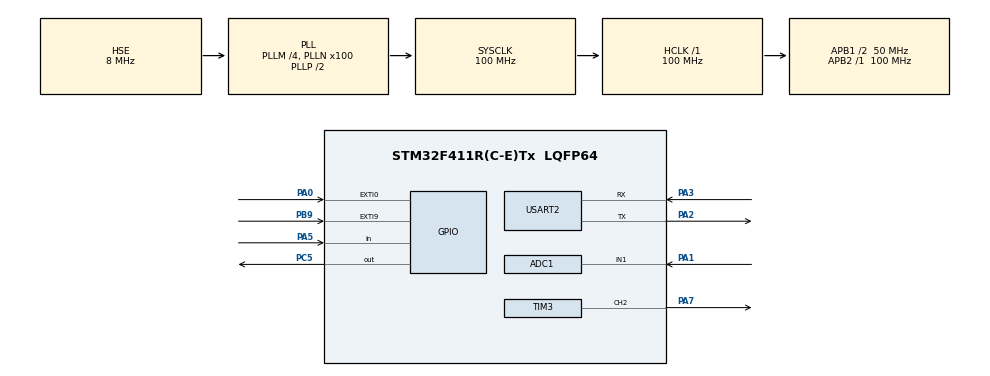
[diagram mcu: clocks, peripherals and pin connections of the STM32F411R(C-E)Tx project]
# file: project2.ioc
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ADC1.Channel-1\#ChannelRegularConversion=ADC_CHANNEL_1
ADC1.NbrOfConversionFlag=1
ADC1.Rank-1\#ChannelRegularConversion=1
ADC1.SamplingTime-1\#ChannelRegularConversion=ADC_SAMPLETIME_3CYCLES
ADC1.master=1
Mcu.Family=STM32F4
Mcu.Name=STM32F411R(C-E)Tx
Mcu.Package=LQFP64
NVIC.EXTI0_IRQn=true\:0\:0\:false\:false\:true\:true\:true\:true
NVIC.EXTI9_5_IRQn=true\:0\:0\:false\:false\:true\:true\:true\:true
NVIC.PriorityGroup=NVIC_PRIORITYGROUP_4
NVIC.TIM1_UP_TIM10_IRQn=true\:0\:0\:false\:false\:true\:true\:true\:true
NVIC.TIM2_IRQn=true\:0\:0\:false\:false\:true\:true\:true\:true
PA0-WKUP.Signal=GPXTI0
PA1.Signal=ADCx_IN1
PA13.Mode=Serial_Wire
PA13.Signal=SYS_JTMS-SWDIO
PA14.Mode=Serial_Wire
PA14.Signal=SYS_JTCK-SWCLK
PA2.Mode=Asynchronous
PA2.Signal=USART2_TX
PA3.Mode=Asynchronous
PA3.Signal=USART2_RX
PA5.Signal=GPIO_Input
PA7.Signal=S_TIM3_CH2
PB9.GPIO_ModeDefaultEXTI=GPIO_MODE_IT_RISING_FALLING
PB9.Signal=GPXTI9
PC5.Signal=GPIO_Output
PH0\ -\ OSC_IN.Mode=HSE-External-Oscillator
PH0\ -\ OSC_IN.Signal=RCC_OSC_IN
PH1\ -\ OSC_OUT.Mode=HSE-External-Oscillator
PH1\ -\ OSC_OUT.Signal=RCC_OSC_OUT
ProjectManager.HeapSize=0x200
ProjectManager.StackSize=0x400
ProjectManager.TargetToolchain=STM32CubeIDE
RCC.48MHZClocksFreq_Value=50000000
RCC.AHBFreq_Value=100000000
RCC.APB1CLKDivider=RCC_HCLK_DIV2
RCC.APB1Freq_Value=50000000
RCC.APB1TimFreq_Value=100000000
RCC.APB2Freq_Value=100000000
RCC.APB2TimFreq_Value=100000000
RCC.CortexFreq_Value=100000000
RCC.HCLKFreq_Value=100000000
RCC.HSE_VALUE=8000000
RCC.HSI_VALUE=16000000
RCC.LSE_VALUE=32768
RCC.PLLM=4
RCC.PLLN=100
RCC.PLLSourceVirtual=RCC_PLLSOURCE_HSE
RCC.SYSCLKFreq_VALUE=100000000
RCC.SYSCLKSource=RCC_SYSCLKSOURCE_PLLCLK
RCC.VCOOutputFreq_Value=200000000
SH.ADCx_IN1.0=ADC1_IN1,IN1
SH.S_TIM3_CH2.0=TIM3_CH2,PWM Generation2 CH2
TIM10.Prescaler=100-1
TIM2.Period=15000000-1
TIM2.Prescaler=100-1
TIM3.AutoReloadPreload=TIM_AUTORELOAD_PRELOAD_ENABLE
TIM3.Channel-PWM\ Generation2\ CH2=TIM_CHANNEL_2
TIM3.Period=1000-1
TIM3.Prescaler=100-1
TIM3.Pulse-PWM\ Generation2\ CH2=500-1
USART2.VirtualMode=VM_ASYNC
VP_TIM10_VS_ClockSourceINT.Mode=Enable_Timer
VP_TIM2_VS_ClockSourceINT.Mode=Internal
VP_TIM3_VS_ClockSourceINT.Mode=Internal
board=custom

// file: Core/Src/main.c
/* USER CODE BEGIN Header */
/**
  ******************************************************************************
  * @file           : main.c
  * @brief          : Main program body
  ******************************************************************************
  * @attention
  *
  * Copyright (c) 2025 STMicroelectronics.
  * All rights reserved.
  *
  * This software is licensed under terms that can be found in the LICENSE file
  * in the root directory of this software component.
  * If no LICENSE file comes with this software, it is provided AS-IS.
  *
  ******************************************************************************
  */
/* USER CODE END Header */
#include "main.h"

/* USER CODE BEGIN Includes */
#include <string.h>
#include <stdio.h>
#include "../driver/Ultrasonic/Ultrasonic.h"
#include "../driver/Button/Button.h"
#include "../driver/Buzzer/Buzzer.h"
/* USER CODE END Includes */

ADC_HandleTypeDef hadc1;

TIM_HandleTypeDef htim2;
TIM_HandleTypeDef htim3;
TIM_HandleTypeDef htim10;

UART_HandleTypeDef huart2;

/* USER CODE BEGIN PV */

volatile uint8_t tim2_sleep_flag = 0;
volatile uint8_t wakeup_flag = 0;
uint32_t last_button_tick = 0;
int temperature = 0;

int _write(int file, char *ptr, int len)
{
  HAL_UART_Transmit(&huart2, (uint8_t *)ptr, len, 10);
  return len;
}

void HAL_GPIO_EXTI_Callback(uint16_t GPIO_Pin) //Echo
{
	if (GPIO_Pin == GPIO_PIN_9) {
		UltraSonic_ISR();
	}

	if (GPIO_Pin == GPIO_PIN_0) {
	        __HAL_TIM_SET_COUNTER(&htim2, 0);
	        last_button_tick = HAL_GetTick();
	        wakeup_flag = 1;
	    }

}

int Read_Temperature(void)
{
    HAL_ADC_Start(&hadc1);
    if(HAL_ADC_PollForConversion(&hadc1, 100) == HAL_OK)
    {
    	uint32_t adc_value = HAL_ADC_GetValue(&hadc1);
        HAL_ADC_Stop(&hadc1);
        float voltage = adc_value * 3.3f / 4095.0f;  // 12bit ADC, Vref=3.3V
        float temp = voltage * 100.0f;
        return (int)temp;
        //printf("temp : %d",(int)temp);
    }
    return 0;
}

//int Read_Temperature(void)
//{
//    int sum = 0;
//    int samples = 10;
//
//    for(int i = 0; i < samples; i++)
//    {
//        HAL_ADC_Start(&hadc1);
//        if(HAL_ADC_PollForConversion(&hadc1, HAL_MAX_DELAY) == HAL_OK)
//        {
//            int adc_value = HAL_ADC_GetValue(&hadc1);
//            sum += adc_value;
//        }
//        HAL_ADC_Stop(&hadc1);
//        HAL_Delay(5);  // 안정화
//    }
//
//    float avg_voltage = (sum / (float)samples) * 3.3f / 4095.0f;
//    float temp = ((avg_voltage - 0.76f) / 0.0025f) + 25.0f;
//
//    //printf("temp avg : %d C\r\n", (int)temp);
//    return (int)temp;
//}
/* USER CODE END PV */

void SystemClock_Config(void);
static void MX_GPIO_Init(void);
static void MX_USART2_UART_Init(void);
static void MX_TIM10_Init(void);
static void MX_TIM3_Init(void);
static void MX_TIM2_Init(void);
static void MX_ADC1_Init(void);

/* USER CODE BEGIN 0 */
void powerOnSound()
{
	Buzzer_makeSound(1046);
	Buzzer_startSound();
	HAL_Delay(100);
	Buzzer_stopSound();

	Buzzer_makeSound(1318);
	Buzzer_startSound();
	HAL_Delay(100);
	Buzzer_stopSound();

	Buzzer_makeSound(1568);
	Buzzer_startSound();
	HAL_Delay(100);
	Buzzer_stopSound();

	Buzzer_makeSound(2093);
	Buzzer_startSound();
	HAL_Delay(100);
	Buzzer_stopSound();
}

/* USER CODE END 0 */

int main(void)
{

  /* MCU Configuration--------------------------------------------------------*/

  /* Reset of all peripherals, Initializes the Flash interface and the Systick. */
  HAL_Init();

  /* Configure the system clock */
  SystemClock_Config();

  /* Initialize all configured peripherals */
  MX_GPIO_Init();
  MX_USART2_UART_Init();
  MX_TIM10_Init();
  MX_TIM3_Init();
  MX_TIM2_Init();
  MX_ADC1_Init();
  /* USER CODE BEGIN 2 */
  //char buf[50];
  int distance;
  Button_TypeDef btnUltraSonic;

  UltraSonic_init(&htim10);
  Button_init(&btnUltraSonic, GPIOA, GPIO_PIN_5);

  Buzzer_init(&htim3, TIM_CHANNEL_2);
  Buzzer_stopSound();
  HAL_TIM_Base_Start(&htim3);
  HAL_TIM_Base_Start_IT(&htim2);
  HAL_TIM_PWM_Start(&htim3, TIM_CHANNEL_2);
  powerOnSound();
  /* USER CODE END 2 */

  /* Infinite loop */
  /* USER CODE BEGIN WHILE */
  //char msg[] = "HelloWorld\n";
//  Buzzer_init(&htim3, TIM_CHANNEL_2);
//  HAL_TIM_Base_Start(&htim3);
//  DetectOnSound();
  while (1)
  {
//	 distance = UltraSonic_getDistance();
//
//	 sprintf(buf, "Distance: %d cm\r\n", distance);
//	 HAL_UART_Transmit(&huart2, (uint8_t*)buf, strlen(buf), 100);
//	 HAL_Delay(2000);

//	  UltraSonic_trigger();
//	  HAL_Delay(500);
//
//	  distance = UltraSonic_getDistance();
//	  printf("distance = %dcm\n", distance);
///////////////////////////////////////////////////////////////////
	   uint32_t now = HAL_GetTick();

	    if ((now - last_button_tick) >= 15000)
	    {
	        printf("15s no input -> sleep mode entered...\r\n");
	        HAL_Delay(20);

	        Buzzer_stopSound();
	        HAL_TIM_PWM_Stop(&htim3, TIM_CHANNEL_2);

	        __HAL_GPIO_EXTI_CLEAR_IT(GPIO_PIN_0);

	        HAL_SuspendTick();
	        HAL_PWR_EnterSLEEPMode(PWR_MAINREGULATOR_ON, PWR_SLEEPENTRY_WFI);
	        HAL_ResumeTick();

	        last_button_tick = HAL_GetTick();
	    }

	    temperature = Read_Temperature();
	        if (temperature > 25)
	        {
	            wakeup_flag = 1;
	            last_button_tick = HAL_GetTick();
	        }

	    if (wakeup_flag)
	    {
	        //printf("Wake up by button!\r\n");
	        //wakeup_flag = 0;
			//if (Button_getState(&btnUltraSonic) == ACT_RELEASED) {
				//trigger
//	    	if (temperature > 25)
//	    	{
				UltraSonic_trigger();
			//}

			if (UltraSonic_getCmpltFlag()) {
				UltraSonic_setCmpltFlag(0);
				distance = UltraSonic_getDistance();
				//printf("distance = %dcm\n", distance);
				printf("Temperature: %d C, Distance = %d cm\n", temperature, distance);
				Buzzer_init(&htim3, TIM_CHANNEL_2);
				Buzzer_stopSound();

			}
			if (temperature > 25) {
				if (distance > 0 && distance <= 30) {
					Buzzer_init(&htim3, TIM_CHANNEL_2);
					Buzzer_stopSound();
					HAL_TIM_Base_Start(&htim3);
					HAL_TIM_PWM_Start(&htim3, TIM_CHANNEL_2);
					Buzzer_makeSound(1046);
				}
			//}
	    }
	 }
  }

//		if (Button_getState(&btnUltraSonic) == ACT_RELEASED) {
//			//trigger
//			UltraSonic_trigger();
//		}
//
//		if (UltraSonic_getCmpltFlag()) {
//			UltraSonic_setCmpltFlag(0);
//			distance = UltraSonic_getDistance();
//			printf("distance = %dcm\n", distance);
//			Buzzer_init(&htim3, TIM_CHANNEL_2);
//			Buzzer_stopSound();
//
//		}
//
//		if (distance > 0 && distance <= 30) {
//			Buzzer_init(&htim3, TIM_CHANNEL_2);
//			Buzzer_stopSound();
//			HAL_TIM_Base_Start(&htim3);
//			HAL_TIM_PWM_Start(&htim3, TIM_CHANNEL_2);
//		    Buzzer_makeSound(1046);
//		}

    /* USER CODE END WHILE */

  }
//}

void SystemClock_Config(void)
{
  RCC_OscInitTypeDef RCC_OscInitStruct = {0};
  RCC_ClkInitTypeDef RCC_ClkInitStruct = {0};

  /** Configure the main internal regulator output voltage
  */
  __HAL_RCC_PWR_CLK_ENABLE();
  __HAL_PWR_VOLTAGESCALING_CONFIG(PWR_REGULATOR_VOLTAGE_SCALE1);

  /** Initializes the RCC Oscillators according to the specified parameters
  * in the RCC_OscInitTypeDef structure.
  */
  RCC_OscInitStruct.OscillatorType = RCC_OSCILLATORTYPE_HSE;
  RCC_OscInitStruct.HSEState = RCC_HSE_ON;
  RCC_OscInitStruct.PLL.PLLState = RCC_PLL_ON;
  RCC_OscInitStruct.PLL.PLLSource = RCC_PLLSOURCE_HSE;
  RCC_OscInitStruct.PLL.PLLM = 4;
  RCC_OscInitStruct.PLL.PLLN = 100;
  RCC_OscInitStruct.PLL.PLLP = RCC_PLLP_DIV2;
  RCC_OscInitStruct.PLL.PLLQ = 4;
  if (HAL_RCC_OscConfig(&RCC_OscInitStruct) != HAL_OK)
  {
    Error_Handler();
  }

  /** Initializes the CPU, AHB and APB buses clocks
  */
  RCC_ClkInitStruct.ClockType = RCC_CLOCKTYPE_HCLK|RCC_CLOCKTYPE_SYSCLK
                              |RCC_CLOCKTYPE_PCLK1|RCC_CLOCKTYPE_PCLK2;
  RCC_ClkInitStruct.SYSCLKSource = RCC_SYSCLKSOURCE_PLLCLK;
  RCC_ClkInitStruct.AHBCLKDivider = RCC_SYSCLK_DIV1;
  RCC_ClkInitStruct.APB1CLKDivider = RCC_HCLK_DIV2;
  RCC_ClkInitStruct.APB2CLKDivider = RCC_HCLK_DIV1;

  if (HAL_RCC_ClockConfig(&RCC_ClkInitStruct, FLASH_LATENCY_3) != HAL_OK)
  {
    Error_Handler();
  }
}

static void MX_ADC1_Init(void)
{

  ADC_ChannelConfTypeDef sConfig = {0};

  /** Configure the global features of the ADC (Clock, Resolution, Data Alignment and number of conversion)
  */
  hadc1.Instance = ADC1;
  hadc1.Init.ClockPrescaler = ADC_CLOCK_SYNC_PCLK_DIV4;
  hadc1.Init.Resolution = ADC_RESOLUTION_12B;
  hadc1.Init.ScanConvMode = DISABLE;
  hadc1.Init.ContinuousConvMode = DISABLE;
  hadc1.Init.DiscontinuousConvMode = DISABLE;
  hadc1.Init.ExternalTrigConvEdge = ADC_EXTERNALTRIGCONVEDGE_NONE;
  hadc1.Init.ExternalTrigConv = ADC_SOFTWARE_START;
  hadc1.Init.DataAlign = ADC_DATAALIGN_RIGHT;
  hadc1.Init.NbrOfConversion = 1;
  hadc1.Init.DMAContinuousRequests = DISABLE;
  hadc1.Init.EOCSelection = ADC_EOC_SINGLE_CONV;
  if (HAL_ADC_Init(&hadc1) != HAL_OK)
  {
    Error_Handler();
  }

  /** Configure for the selected ADC regular channel its corresponding rank in the sequencer and its sample time.
  */
  sConfig.Channel = ADC_CHANNEL_TEMPSENSOR;
  sConfig.Rank = 1;
  sConfig.SamplingTime = ADC_SAMPLETIME_3CYCLES;
  if (HAL_ADC_ConfigChannel(&hadc1, &sConfig) != HAL_OK)
  {
    Error_Handler();
  }

}

static void MX_TIM2_Init(void)
{

  TIM_ClockConfigTypeDef sClockSourceConfig = {0};
  TIM_MasterConfigTypeDef sMasterConfig = {0};

  htim2.Instance = TIM2;
  htim2.Init.Prescaler = 100-1;
  htim2.Init.CounterMode = TIM_COUNTERMODE_UP;
  htim2.Init.Period = 15000000-1;
  htim2.Init.ClockDivision = TIM_CLOCKDIVISION_DIV1;
  htim2.Init.AutoReloadPreload = TIM_AUTORELOAD_PRELOAD_DISABLE;
  if (HAL_TIM_Base_Init(&htim2) != HAL_OK)
  {
    Error_Handler();
  }
  sClockSourceConfig.ClockSource = TIM_CLOCKSOURCE_INTERNAL;
  if (HAL_TIM_ConfigClockSource(&htim2, &sClockSourceConfig) != HAL_OK)
  {
    Error_Handler();
  }
  sMasterConfig.MasterOutputTrigger = TIM_TRGO_RESET;
  sMasterConfig.MasterSlaveMode = TIM_MASTERSLAVEMODE_DISABLE;
  if (HAL_TIMEx_MasterConfigSynchronization(&htim2, &sMasterConfig) != HAL_OK)
  {
    Error_Handler();
  }

}

static void MX_TIM3_Init(void)
{

  TIM_ClockConfigTypeDef sClockSourceConfig = {0};
  TIM_MasterConfigTypeDef sMasterConfig = {0};
  TIM_OC_InitTypeDef sConfigOC = {0};

  htim3.Instance = TIM3;
  htim3.Init.Prescaler = 100-1;
  htim3.Init.CounterMode = TIM_COUNTERMODE_UP;
  htim3.Init.Period = 1000-1;
  htim3.Init.ClockDivision = TIM_CLOCKDIVISION_DIV1;
  htim3.Init.AutoReloadPreload = TIM_AUTORELOAD_PRELOAD_ENABLE;
  if (HAL_TIM_Base_Init(&htim3) != HAL_OK)
  {
    Error_Handler();
  }
  sClockSourceConfig.ClockSource = TIM_CLOCKSOURCE_INTERNAL;
  if (HAL_TIM_ConfigClockSource(&htim3, &sClockSourceConfig) != HAL_OK)
  {
    Error_Handler();
  }
  if (HAL_TIM_PWM_Init(&htim3) != HAL_OK)
  {
    Error_Handler();
  }
  sMasterConfig.MasterOutputTrigger = TIM_TRGO_RESET;
  sMasterConfig.MasterSlaveMode = TIM_MASTERSLAVEMODE_DISABLE;
  if (HAL_TIMEx_MasterConfigSynchronization(&htim3, &sMasterConfig) != HAL_OK)
  {
    Error_Handler();
  }
  sConfigOC.OCMode = TIM_OCMODE_PWM1;
  sConfigOC.Pulse = 500-1;
  sConfigOC.OCPolarity = TIM_OCPOLARITY_HIGH;
  sConfigOC.OCFastMode = TIM_OCFAST_DISABLE;
  if (HAL_TIM_PWM_ConfigChannel(&htim3, &sConfigOC, TIM_CHANNEL_2) != HAL_OK)
  {
    Error_Handler();
  }
  HAL_TIM_MspPostInit(&htim3);

}

static void MX_TIM10_Init(void)
{

  htim10.Instance = TIM10;
  htim10.Init.Prescaler = 100-1;
  htim10.Init.CounterMode = TIM_COUNTERMODE_UP;
  htim10.Init.Period = 65535;
  htim10.Init.ClockDivision = TIM_CLOCKDIVISION_DIV1;
  htim10.Init.AutoReloadPreload = TIM_AUTORELOAD_PRELOAD_DISABLE;
  if (HAL_TIM_Base_Init(&htim10) != HAL_OK)
  {
    Error_Handler();
  }

}

static void MX_USART2_UART_Init(void)
{

  huart2.Instance = USART2;
  huart2.Init.BaudRate = 115200;
  huart2.Init.WordLength = UART_WORDLENGTH_8B;
  huart2.Init.StopBits = UART_STOPBITS_1;
  huart2.Init.Parity = UART_PARITY_NONE;
  huart2.Init.Mode = UART_MODE_TX_RX;
  huart2.Init.HwFlowCtl = UART_HWCONTROL_NONE;
  huart2.Init.OverSampling = UART_OVERSAMPLING_16;
  if (HAL_UART_Init(&huart2) != HAL_OK)
  {
    Error_Handler();
  }

}

static void MX_GPIO_Init(void)
{
  GPIO_InitTypeDef GPIO_InitStruct = {0};

  /* GPIO Ports Clock Enable */
  __HAL_RCC_GPIOH_CLK_ENABLE();
  __HAL_RCC_GPIOA_CLK_ENABLE();
  __HAL_RCC_GPIOC_CLK_ENABLE();
  __HAL_RCC_GPIOB_CLK_ENABLE();

  /*Configure GPIO pin Output Level */
  HAL_GPIO_WritePin(GPIOC, GPIO_PIN_5, GPIO_PIN_RESET);

  /*Configure GPIO pin : PA0 */
  GPIO_InitStruct.Pin = GPIO_PIN_0;
  GPIO_InitStruct.Mode = GPIO_MODE_IT_RISING;
  GPIO_InitStruct.Pull = GPIO_NOPULL;
  HAL_GPIO_Init(GPIOA, &GPIO_InitStruct);

  /*Configure GPIO pin : PA5 */
  GPIO_InitStruct.Pin = GPIO_PIN_5;
  GPIO_InitStruct.Mode = GPIO_MODE_INPUT;
  GPIO_InitStruct.Pull = GPIO_NOPULL;
  HAL_GPIO_Init(GPIOA, &GPIO_InitStruct);

  /*Configure GPIO pin : PC5 */
  GPIO_InitStruct.Pin = GPIO_PIN_5;
  GPIO_InitStruct.Mode = GPIO_MODE_OUTPUT_PP;
  GPIO_InitStruct.Pull = GPIO_NOPULL;
  GPIO_InitStruct.Speed = GPIO_SPEED_FREQ_LOW;
  HAL_GPIO_Init(GPIOC, &GPIO_InitStruct);

  /*Configure GPIO pin : PB9 */
  GPIO_InitStruct.Pin = GPIO_PIN_9;
  GPIO_InitStruct.Mode = GPIO_MODE_IT_RISING_FALLING;
  GPIO_InitStruct.Pull = GPIO_NOPULL;
  HAL_GPIO_Init(GPIOB, &GPIO_InitStruct);

  /* EXTI interrupt init*/
  HAL_NVIC_SetPriority(EXTI0_IRQn, 0, 0);
  HAL_NVIC_EnableIRQ(EXTI0_IRQn);

  HAL_NVIC_SetPriority(EXTI9_5_IRQn, 0, 0);
  HAL_NVIC_EnableIRQ(EXTI9_5_IRQn);

}

/* USER CODE BEGIN 4 */
void HAL_TIM_PeriodElapsedCallback(TIM_HandleTypeDef *htim)
{
    if (htim->Instance == TIM2)
    {
        tim2_sleep_flag = 1;
    }
}
/* USER CODE END 4 */

void Error_Handler(void)
{
  __disable_irq();
  while (1)
  {
  }
}
